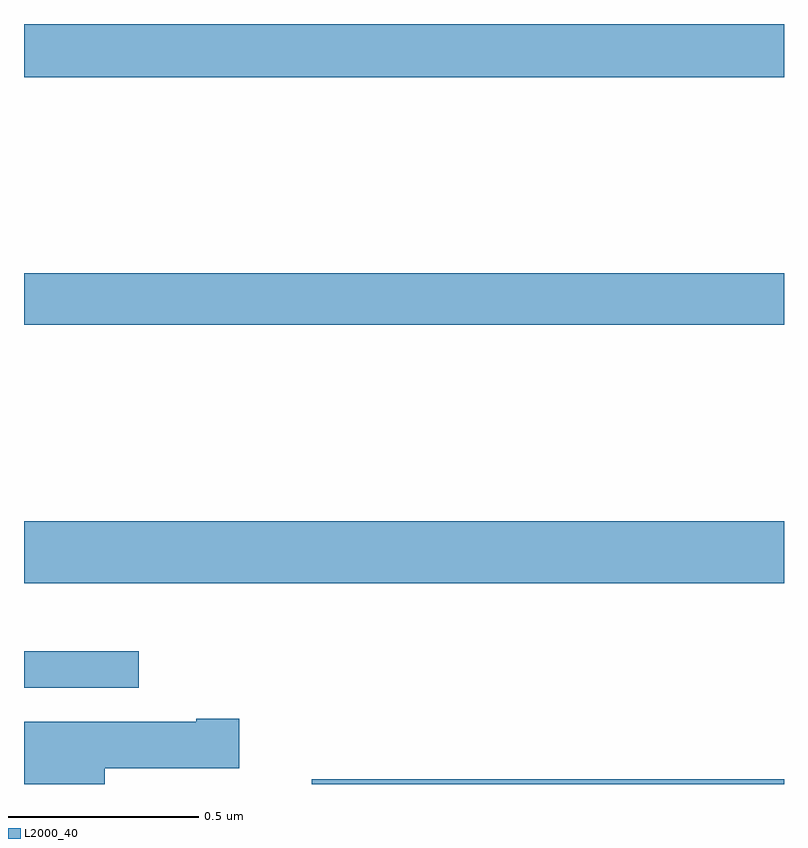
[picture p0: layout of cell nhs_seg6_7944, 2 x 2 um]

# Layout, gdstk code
import gdstk
lib = gdstk.Library(unit=1e-6, precision=1e-09)
def R(c, l, rs):  # rectangles x0, y0, x1, y1
    for r in rs: c.add(gdstk.rectangle(r[:2], r[2:], *l))
def P(c, l, *ps):  # polygons
    for p in ps: c.add(gdstk.Polygon(p, *l))
L2000_40 = (2000, 40)

nhs_seg6_7944 = lib.new_cell('nhs_seg6_7944')
R(nhs_seg6_7944, L2000_40, [(215.757,921.5,217,921.512), (215,921.753,215.302,921.85), (215,922.028,217,922.192), (215,922.708,217,922.844), (215,923.36,217,923.5)])
P(nhs_seg6_7944, L2000_40, [(215.212,921.542),(215.566,921.542),(215.566,921.672),(215.453,921.672),(215.453,921.664),(215,921.664),(215,921.5),(215.212,921.5)])

lib.write_gds('nhs_seg6_7944.gds')
